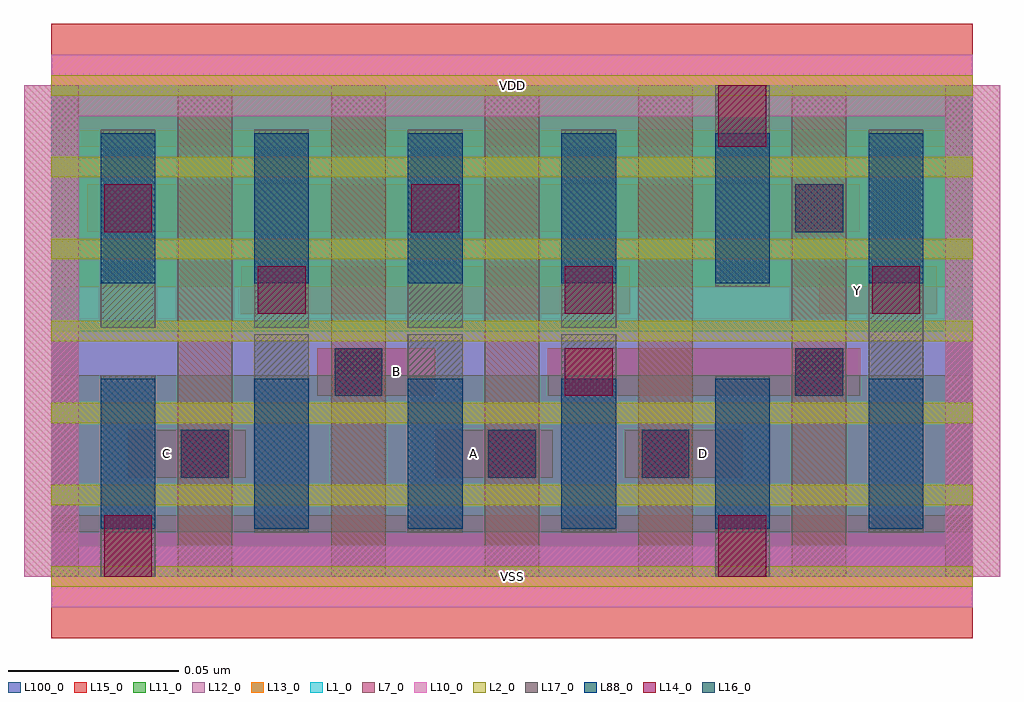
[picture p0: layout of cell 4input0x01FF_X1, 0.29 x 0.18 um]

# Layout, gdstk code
import gdstk
lib = gdstk.Library(unit=1e-6, precision=2.5e-10)
def R(c, l, rs):  # rectangles x0, y0, x1, y1
    for r in rs: c.add(gdstk.rectangle(r[:2], r[2:], *l))
def A(c, l, x, y, w, h, nx, ny, dx, dy):  # array of equal rectangles
    R(c, l, [(x+i*dx, y+j*dy, x+i*dx+w, y+j*dy+h) for i in range(nx) for j in range(ny)])
def P(c, l, *ps):  # polygons
    for p in ps: c.add(gdstk.Polygon(p, *l))
L1_0 = (1, 0)
L2_0 = (2, 0)
L7_0 = (7, 0)
L10_0 = (10, 0)
L11_0 = (11, 0)
L12_0 = (12, 0)
L13_0 = (13, 0)
L14_0 = (14, 0)
L15_0 = (15, 0)
L16_0 = (16, 0)
L17_0 = (17, 0)
L88_0 = (88, 0)
L100_0 = (100, 0)

c_4input0x01ff_x1 = lib.new_cell('4input0x01FF_X1')
R(c_4input0x01ff_x1, L1_0, [(0,0.072,0.27,0.144)])
A(c_4input0x01ff_x1, L2_0, 0, -0.003, 0.27, 0.006, 1, 7, 0, 0.024)
A(c_4input0x01ff_x1, L7_0, -0.008, 0, 0.016, 0.144, 7, 1, 0.045, 0)
P(c_4input0x01ff_x1, L10_0, [(0,-0.009),(0,0),(-0.008,0),(-0.008,0.135),(0.008,0.135),(0.008,0.009),(0.262,0.009),(0.262,0.135),(-0.008,0.135),(-0.008,0.144),(0,0.144),(0,0.153),(0.27,0.153),(0.27,0.144),(0.278,0.144),(0.278,0),(0.27,0),(0.27,-0.009)])
R(c_4input0x01ff_x1, L11_0, [(0,0.013,0.27,0.059), (0,0.085,0.27,0.131)])
R(c_4input0x01ff_x1, L12_0, [(0,0,0.27,0.072)])
R(c_4input0x01ff_x1, L13_0, [(0,0.072,0.27,0.144)])
A(c_4input0x01ff_x1, L14_0, 0.083, 0.053, 0.014, 0.014, 3, 1, 0.0675, 0)
A(c_4input0x01ff_x1, L14_0, 0.0605, 0.077, 0.014, 0.014, 3, 1, 0.09, 0)
R(c_4input0x01ff_x1, L14_0, [(0.0155,0,0.0295,0.018), (0.1955,0,0.2095,0.018), (0.038,0.029,0.052,0.043), (0.128,0.029,0.142,0.043), (0.173,0.029,0.187,0.043), (0.0155,0.101,0.0295,0.115), (0.1055,0.101,0.1195,0.115), (0.218,0.101,0.232,0.115), (0.1955,0.126,0.2095,0.144)])
R(c_4input0x01ff_x1, L15_0, [(0,-0.018,0.27,0.018), (0.0225,0.029,0.057,0.043), (0.1125,0.029,0.147,0.043), (0.168,0.029,0.2025,0.043), (0.078,0.053,0.1125,0.067), (0.1455,0.053,0.237,0.067), (0.0555,0.077,0.1695,0.091), (0.225,0.077,0.2595,0.091), (0.0105,0.101,0.237,0.115), (0,0.126,0.27,0.162)])
R(c_4input0x01ff_x1, L16_0, [(0.038,0.029,0.052,0.043), (0.128,0.029,0.142,0.043), (0.173,0.029,0.187,0.043), (0.083,0.053,0.097,0.067), (0.218,0.053,0.232,0.067), (0.218,0.101,0.232,0.115)])
A(c_4input0x01ff_x1, L17_0, 0.0595, 0.013, 0.016, 0.058, 3, 1, 0.045, 0)
A(c_4input0x01ff_x1, L17_0, 0.0145, 0.073, 0.016, 0.058, 4, 1, 0.045, 0)
R(c_4input0x01ff_x1, L17_0, [(0.0145,0,0.0305,0.059), (0.1945,0,0.2105,0.059), (0.2395,0.013,0.2555,0.131), (0.1945,0.085,0.2105,0.144)])
A(c_4input0x01ff_x1, L88_0, 0.0145, 0.014, 0.016, 0.044, 6, 2, 0.045, 0.072)
R(c_4input0x01ff_x1, L100_0, [(0,0,0.27,0.144)])
c_4input0x01ff_x1.add(gdstk.Label('A', (0.1237,0.036), layer=15, texttype=251))
c_4input0x01ff_x1.add(gdstk.Label('VSS', (0.135,0), layer=15, texttype=251))
c_4input0x01ff_x1.add(gdstk.Label('VDD', (0.135,0.144), layer=15, texttype=251))
c_4input0x01ff_x1.add(gdstk.Label('B', (0.1013,0.06), layer=15, texttype=251))
c_4input0x01ff_x1.add(gdstk.Label('VSS', (0.135,0), layer=15, texttype=251))
c_4input0x01ff_x1.add(gdstk.Label('VDD', (0.135,0.144), layer=15, texttype=251))
c_4input0x01ff_x1.add(gdstk.Label('C', (0.0338,0.036), layer=15, texttype=251))
c_4input0x01ff_x1.add(gdstk.Label('VSS', (0.135,0), layer=15, texttype=251))
c_4input0x01ff_x1.add(gdstk.Label('VDD', (0.135,0.144), layer=15, texttype=251))
c_4input0x01ff_x1.add(gdstk.Label('D', (0.1913,0.036), layer=15, texttype=251))
c_4input0x01ff_x1.add(gdstk.Label('VSS', (0.135,0), layer=15, texttype=251))
c_4input0x01ff_x1.add(gdstk.Label('VDD', (0.135,0.144), layer=15, texttype=251))
c_4input0x01ff_x1.add(gdstk.Label('Y', (0.2363,0.084), layer=15, texttype=251))
c_4input0x01ff_x1.add(gdstk.Label('VSS', (0.135,0), layer=15, texttype=251))
c_4input0x01ff_x1.add(gdstk.Label('VDD', (0.135,0.144), layer=15, texttype=251))
c_4input0x01ff_x1.add(gdstk.Label('VSS', (0.135,0), layer=3, texttype=251))
c_4input0x01ff_x1.add(gdstk.Label('VSS', (0.135,0), layer=3, texttype=251))
c_4input0x01ff_x1.add(gdstk.Label('VSS', (0.135,0), layer=3, texttype=251))
c_4input0x01ff_x1.add(gdstk.Label('VSS', (0.135,0), layer=3, texttype=251))
c_4input0x01ff_x1.add(gdstk.Label('VSS', (0.135,0), layer=3, texttype=251))
c_4input0x01ff_x1.add(gdstk.Label('VDD', (0.135,0.144), layer=1, texttype=251))
c_4input0x01ff_x1.add(gdstk.Label('VDD', (0.135,0.144), layer=1, texttype=251))
c_4input0x01ff_x1.add(gdstk.Label('VDD', (0.135,0.144), layer=1, texttype=251))
c_4input0x01ff_x1.add(gdstk.Label('VDD', (0.135,0.144), layer=1, texttype=251))
c_4input0x01ff_x1.add(gdstk.Label('VDD', (0.135,0.144), layer=1, texttype=251))

lib.write_gds('4input0x01FF_X1.gds')
